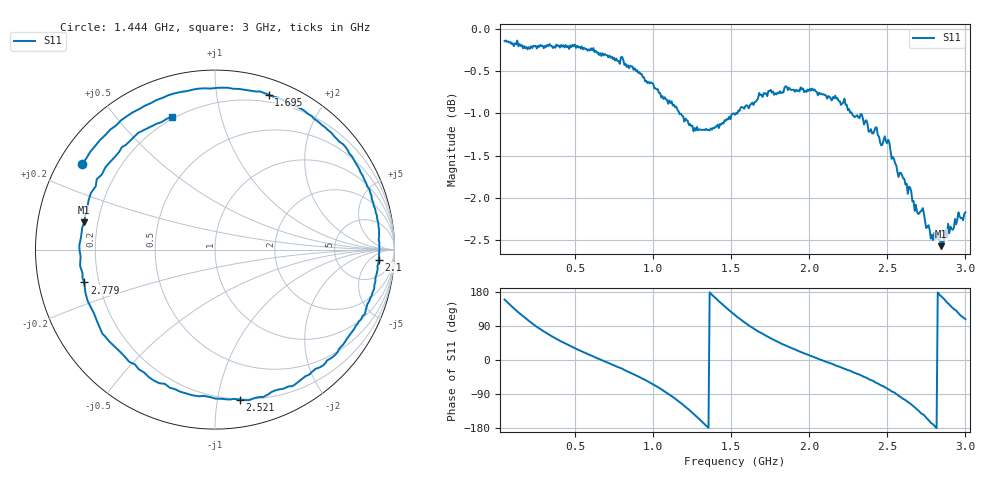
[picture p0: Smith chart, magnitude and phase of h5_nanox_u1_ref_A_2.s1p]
! nanovna_capture.py 2026-10-18T19:50:59+0900
! NanoVNA-F_V2 fw 0.6.0 SN 4A3639384505514B
! cal: load open short cal'ed  over 50000000-3000000000 Hz, 201 points
! points 401, avg 4
! h5 probe, tape spacer, genuine Nano X u1, position A (behind left button), placement 2
# HZ S RI R 50
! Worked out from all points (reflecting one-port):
!   401 points, 50 MHz to 3 GHz, reference 50 ohm
!   lowest |S11| = -2.6 dB at 2.845 GHz (marker M1), VSWR 6.80, Z = 7.43 + j5.04 ohm
!   phase of S11 starts at 159 deg and turns -771 deg over the sweep
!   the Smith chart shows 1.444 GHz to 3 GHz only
!   S11 on the Smith chart (normalised r, x): 1.444 GHz: 0.07, +0.29; 1.695 GHz: 0.13, +1.40; 2.1 GHz: 15, -10; 2.521 GHz: 0.20, -1.16; 2.779 GHz: 0.14, -0.12; 3 GHz: 0.19, +0.71
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5e7  -0.9215 0.3448
1.385e8  -0.5696 0.7939
2.19625e8  -0.145 0.9661
3.08125e8  0.2764 0.9374
4.1875e8  0.6574 0.7219
6.03125e8  0.9528 0.2031
7.875e8  0.8917 -0.3382
8.98125e8  0.7013 -0.634
1.001375e9  0.3993 -0.8376
1.15625e9  -0.2571 -0.8582
1.237375e9  -0.6105 -0.6315
1.3185e9  -0.8407 -0.2295
1.384875e9  -0.8586 0.1628
1.443875e9  -0.7387 0.4777
1.525e9  -0.4223 0.783
1.59875e9  -0.0889 0.897
1.694625e9  0.2989 0.864
1.89375e9  0.7946 0.4646
2.10025e9  0.912 -0.0561
2.2625e9  0.7853 -0.4233
2.402625e9  0.5053 -0.705
2.520625e9  0.1403 -0.8353
2.63125e9  -0.2795 -0.748
2.71975e9  -0.6124 -0.4836
2.77875e9  -0.7285 -0.183
2.845125e9  -0.7278 0.1517
2.918875e9  -0.5591 0.5152
3e9  -0.2405 0.7405
